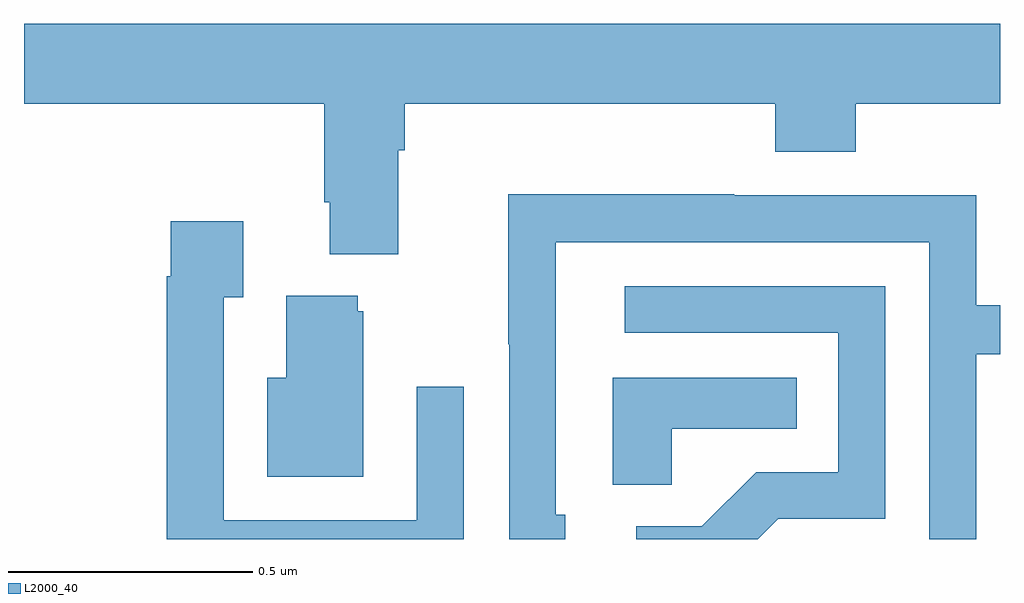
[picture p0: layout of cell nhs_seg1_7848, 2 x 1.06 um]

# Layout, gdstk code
import gdstk
lib = gdstk.Library(unit=1e-6, precision=1e-09)
def P(c, l, *ps):  # polygons
    for p in ps: c.add(gdstk.Polygon(p, *l))
L2000_40 = (2000, 40)

nhs_seg1_7848 = lib.new_cell('nhs_seg1_7848')
P(nhs_seg1_7848, L2000_40, [(209.767,524.996),(209.78,524.996),(209.78,525.092),(210.539,525.092),(210.539,524.993),(210.704,524.993),(210.704,525.092),(211,525.092),(211,525.256),(209,525.256),(209,525.092),(209.615,525.092),(209.615,524.89),(209.627,524.89),(209.627,524.783),(209.767,524.783)],
  [(210.109,524.25),(210.09,524.25),(210.09,524.808),(210.855,524.808),(210.855,524.199),(210.951,524.199),(210.951,524.578),(211,524.578),(211,524.679),(210.951,524.679),(210.951,524.904),(210.455,524.904),(210.455,524.906),(209.992,524.906),(209.992,524.599),(209.994,524.599),(209.994,524.199),(210.109,524.199)],
  [(209.901,524.512),(209.805,524.512),(209.805,524.238),(209.409,524.238),(209.409,524.695),(209.449,524.695),(209.449,524.851),(209.301,524.851),(209.301,524.738),(209.293,524.738),(209.293,524.199),(209.901,524.199)],
  [(210.546,524.241),(210.765,524.241),(210.765,524.718),(210.231,524.718),(210.231,524.622),(210.669,524.622),(210.669,524.337),(210.5,524.337),(210.389,524.226),(210.255,524.226),(210.255,524.199),(210.504,524.199)],
  [(209.695,524.667),(209.684,524.667),(209.684,524.698),(209.537,524.698),(209.537,524.53),(209.498,524.53),(209.498,524.327),(209.695,524.327)],
  [(210.327,524.426),(210.584,524.426),(210.584,524.53),(210.206,524.53),(210.206,524.311),(210.327,524.311)])

lib.write_gds('nhs_seg1_7848.gds')
